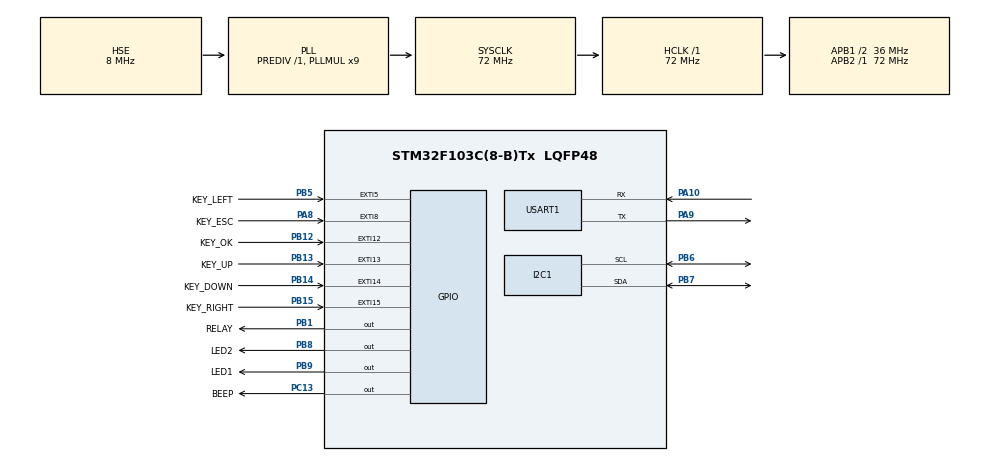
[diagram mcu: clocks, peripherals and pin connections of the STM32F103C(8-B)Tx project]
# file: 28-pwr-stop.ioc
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Dma.Request0=USART1_RX
Dma.USART1_RX.0.Direction=DMA_PERIPH_TO_MEMORY
Dma.USART1_RX.0.Instance=DMA1_Channel5
Dma.USART1_RX.0.MemDataAlignment=DMA_MDATAALIGN_BYTE
Dma.USART1_RX.0.MemInc=DMA_MINC_ENABLE
Dma.USART1_RX.0.Mode=DMA_CIRCULAR
Dma.USART1_RX.0.PeriphDataAlignment=DMA_PDATAALIGN_BYTE
Dma.USART1_RX.0.PeriphInc=DMA_PINC_DISABLE
Dma.USART1_RX.0.Priority=DMA_PRIORITY_LOW
Mcu.Family=STM32F1
Mcu.Name=STM32F103C(8-B)Tx
Mcu.Package=LQFP48
NVIC.DMA1_Channel5_IRQn=true\:0\:0\:false\:false\:true\:false\:true\:true
NVIC.EXTI15_10_IRQn=true\:0\:0\:true\:false\:true\:true\:true\:true
NVIC.EXTI9_5_IRQn=true\:0\:0\:true\:false\:true\:true\:true\:true
NVIC.PriorityGroup=NVIC_PRIORITYGROUP_4
NVIC.USART1_IRQn=true\:0\:0\:false\:false\:true\:true\:true\:true
PA10.Mode=Asynchronous
PA10.Signal=USART1_RX
PA13.Mode=Serial_Wire
PA13.Signal=SYS_JTMS-SWDIO
PA14.Mode=Serial_Wire
PA14.Signal=SYS_JTCK-SWCLK
PA8.GPIO_Label=KEY_ESC
PA8.GPIO_ModeDefaultEXTI=GPIO_MODE_IT_FALLING
PA8.GPIO_PuPd=GPIO_PULLUP
PA8.Signal=GPXTI8
PA9.Mode=Asynchronous
PA9.Signal=USART1_TX
PB1.GPIO_Label=RELAY
PB1.Signal=GPIO_Output
PB12.GPIO_Label=KEY_OK
PB12.GPIO_ModeDefaultEXTI=GPIO_MODE_IT_FALLING
PB12.GPIO_PuPd=GPIO_PULLUP
PB12.Signal=GPXTI12
PB13.GPIO_Label=KEY_UP
PB13.GPIO_ModeDefaultEXTI=GPIO_MODE_IT_FALLING
PB13.GPIO_PuPd=GPIO_PULLUP
PB13.Signal=GPXTI13
PB14.GPIO_Label=KEY_DOWN
PB14.GPIO_ModeDefaultEXTI=GPIO_MODE_IT_FALLING
PB14.GPIO_PuPd=GPIO_PULLUP
PB14.Signal=GPXTI14
PB15.GPIO_Label=KEY_RIGHT
PB15.GPIO_ModeDefaultEXTI=GPIO_MODE_IT_FALLING
PB15.GPIO_PuPd=GPIO_PULLUP
PB15.Signal=GPXTI15
PB5.GPIO_Label=KEY_LEFT
PB5.GPIO_ModeDefaultEXTI=GPIO_MODE_IT_FALLING
PB5.GPIO_PuPd=GPIO_PULLUP
PB5.Signal=GPXTI5
PB6.Mode=I2C
PB6.Signal=I2C1_SCL
PB7.Mode=I2C
PB7.Signal=I2C1_SDA
PB8.GPIO_Label=LED2
PB8.PinState=GPIO_PIN_SET
PB8.Signal=GPIO_Output
PB9.GPIO_Label=LED1
PB9.PinState=GPIO_PIN_SET
PB9.Signal=GPIO_Output
PC13-TAMPER-RTC.GPIO_Label=BEEP
PC13-TAMPER-RTC.Signal=GPIO_Output
PC14-OSC32_IN.Mode=LSE-External-Oscillator
PC14-OSC32_IN.Signal=RCC_OSC32_IN
PC15-OSC32_OUT.Mode=LSE-External-Oscillator
PC15-OSC32_OUT.Signal=RCC_OSC32_OUT
PD0-OSC_IN.Mode=HSE-External-Oscillator
PD0-OSC_IN.Signal=RCC_OSC_IN
PD1-OSC_OUT.Mode=HSE-External-Oscillator
PD1-OSC_OUT.Signal=RCC_OSC_OUT
ProjectManager.HeapSize=0x200
ProjectManager.StackSize=0x400
ProjectManager.TargetToolchain=MDK-ARM V5.32
RCC.AHBFreq_Value=72000000
RCC.APB1CLKDivider=RCC_HCLK_DIV2
RCC.APB1Freq_Value=36000000
RCC.APB1TimFreq_Value=72000000
RCC.APB2Freq_Value=72000000
RCC.APB2TimFreq_Value=72000000
RCC.HCLKFreq_Value=72000000
RCC.PLLMUL=RCC_PLL_MUL9
RCC.PLLSourceVirtual=RCC_PLLSOURCE_HSE
RCC.RTCClockSelection=RCC_RTCCLKSOURCE_LSE
RCC.SYSCLKFreq_VALUE=72000000
RCC.SYSCLKSource=RCC_SYSCLKSOURCE_PLLCLK
RCC.USBFreq_Value=72000000
RTC.Date=4
RTC.Hours=10
RTC.Minutes=20
RTC.Month=RTC_MONTH_SEPTEMBER
RTC.Seconds=30
RTC.WeekDay=RTC_WEEKDAY_THURSDAY
RTC.Year=25
USART1.VirtualMode=VM_ASYNC
VP_RTC_VS_RTC_Activate.Mode=RTC_Enabled
VP_RTC_VS_RTC_Calendar.Mode=RTC_Calendar
board=custom

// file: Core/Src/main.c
/* USER CODE BEGIN Header */
/**
  ******************************************************************************
  * @file           : main.c
  * @brief          : Main program body
  ******************************************************************************
  * @attention
  *
  * Copyright (c) 2025 STMicroelectronics.
  * All rights reserved.
  *
  * This software is licensed under terms that can be found in the LICENSE file
  * in the root directory of this software component.
  * If no LICENSE file comes with this software, it is provided AS-IS.
  *
  ******************************************************************************
  */
/* USER CODE END Header */
#include "main.h"
#include "dma.h"
#include "i2c.h"
#include "rtc.h"
#include "usart.h"
#include "gpio.h"

/* USER CODE BEGIN Includes */
#include <stdio.h>
#include "oled.h"
#include "aht20.h"
#include "ina226.h"
/* USER CODE END Includes */

void SystemClock_Config(void);

int main(void)
{

  /* MCU Configuration--------------------------------------------------------*/

  /* Reset of all peripherals, Initializes the Flash interface and the Systick. */
  HAL_Init();

  /* Configure the system clock */
  SystemClock_Config();

  /* Initialize all configured peripherals */
  MX_GPIO_Init();
  MX_DMA_Init();
  MX_USART1_UART_Init();
  MX_I2C1_Init();
  MX_RTC_Init();
  /* USER CODE BEGIN 2 */
	printf("Uart1 init is ok\n");
	printf("PWR Stop Test\n");
	__HAL_UART_ENABLE_IT(&huart1, UART_IT_IDLE); //使能串UART1 IDLE(空闲)中断
	HAL_UART_Receive_DMA(&huart1, RX1_Buf, DMA_BUF_SIZE); //设置DMA传输，将uart1的数据搬运到RX1_Buf中

	//EEPROM_Test();
	OLED_Init();
	OLED_CLS(); // 清除屏幕显示
	AHT20_Init();
	INA226_Init();
  /* USER CODE END 2 */

  /* Infinite loop */
  while (1)
  {

    /* USER CODE BEGIN 3 */
		//LED_Test();
		//BEEP_Test();
		//RELAY_Test();
		//KEY_Test();
		//OLED_Test();
		//AHT20_Test();
		//INA226_Test();
		//IWDG_Test();
		//RTC_Test();

		// 使用LED1 指示灯, 指示系统正在运行
    LED_Control(LED1,ON); // LED1 亮
    HAL_Delay(2000); //  延时2秒
    LED_Control(LED1,OFF); // LED1 灭
    printf("System is Running\n");

    // 使用 LED2指示, 系统进入睡眠模式
    LED_Control(LED2,ON);  // LED2 亮
    HAL_SuspendTick() ;// 暂停 滴答定时器 ， 因为嘀嗒定时器会产生1ms的中断， 必须关掉
    printf("System is sleeping\n");
    //HAL_PWR_EnterSLEEPMode(PWR_MAINREGULATOR_ON,PWR_SLEEPENTRY_WFI) ; // 进入睡眠模式
		HAL_PWR_EnterSTOPMode(PWR_MAINREGULATOR_ON,PWR_SLEEPENTRY_WFI) ; // 进入stop模式
    // 等待被唤醒 ........  , 可以按下6个按键中的任何一个即可唤醒 , 最好按下ESC,因为ESC默认动作时关闭蜂鸣器

		// 被唤醒后 使用hsi时钟
    SystemClock_Config();  //  需要重新配置时钟 72MHZ
    printf("System is wakeup\n");
    LED_Control(LED2,OFF);  // LED2 灭
		HAL_ResumeTick(); //  恢复滴答定时器的计时
		// 获取重新配置后的时钟状态
    // 获取系统的时钟信息
    uint32_t SYSCLK_Frequency = HAL_RCC_GetSysClockFreq();
    uint32_t HCLK_Frequency 	= HAL_RCC_GetHCLKFreq();
    uint32_t PCLK1_Frequency 	= HAL_RCC_GetPCLK1Freq();
    uint32_t PCLK2_Frequency 	= HAL_RCC_GetPCLK2Freq();
    uint32_t SYSCLK_Source 		= __HAL_RCC_GET_SYSCLK_SOURCE();
		printf("2: SYSCLK:%d,\n HCLK:%d,\n PCLK1:%d,\n PCLK2:%d,\n Source:%d (0 HSI , 8 PLLCLK)\n",
						SYSCLK_Frequency,HCLK_Frequency,PCLK1_Frequency,PCLK2_Frequency,SYSCLK_Source);

  }
  /* USER CODE END 3 */
}

void SystemClock_Config(void)
{
  RCC_OscInitTypeDef RCC_OscInitStruct = {0};
  RCC_ClkInitTypeDef RCC_ClkInitStruct = {0};
  RCC_PeriphCLKInitTypeDef PeriphClkInit = {0};

  /** Initializes the RCC Oscillators according to the specified parameters
  * in the RCC_OscInitTypeDef structure.
  */
  RCC_OscInitStruct.OscillatorType = RCC_OSCILLATORTYPE_HSE|RCC_OSCILLATORTYPE_LSE;
  RCC_OscInitStruct.HSEState = RCC_HSE_ON;
  RCC_OscInitStruct.HSEPredivValue = RCC_HSE_PREDIV_DIV1;
  RCC_OscInitStruct.LSEState = RCC_LSE_ON;
  RCC_OscInitStruct.HSIState = RCC_HSI_ON;
  RCC_OscInitStruct.PLL.PLLState = RCC_PLL_ON;
  RCC_OscInitStruct.PLL.PLLSource = RCC_PLLSOURCE_HSE;
  RCC_OscInitStruct.PLL.PLLMUL = RCC_PLL_MUL9;
  if (HAL_RCC_OscConfig(&RCC_OscInitStruct) != HAL_OK)
  {
    Error_Handler();
  }

  /** Initializes the CPU, AHB and APB buses clocks
  */
  RCC_ClkInitStruct.ClockType = RCC_CLOCKTYPE_HCLK|RCC_CLOCKTYPE_SYSCLK
                              |RCC_CLOCKTYPE_PCLK1|RCC_CLOCKTYPE_PCLK2;
  RCC_ClkInitStruct.SYSCLKSource = RCC_SYSCLKSOURCE_PLLCLK;
  RCC_ClkInitStruct.AHBCLKDivider = RCC_SYSCLK_DIV1;
  RCC_ClkInitStruct.APB1CLKDivider = RCC_HCLK_DIV2;
  RCC_ClkInitStruct.APB2CLKDivider = RCC_HCLK_DIV1;

  if (HAL_RCC_ClockConfig(&RCC_ClkInitStruct, FLASH_LATENCY_2) != HAL_OK)
  {
    Error_Handler();
  }
  PeriphClkInit.PeriphClockSelection = RCC_PERIPHCLK_RTC;
  PeriphClkInit.RTCClockSelection = RCC_RTCCLKSOURCE_LSE;
  if (HAL_RCCEx_PeriphCLKConfig(&PeriphClkInit) != HAL_OK)
  {
    Error_Handler();
  }
}

void Error_Handler(void)
{
  __disable_irq();
  while (1)
  {
  }
}
